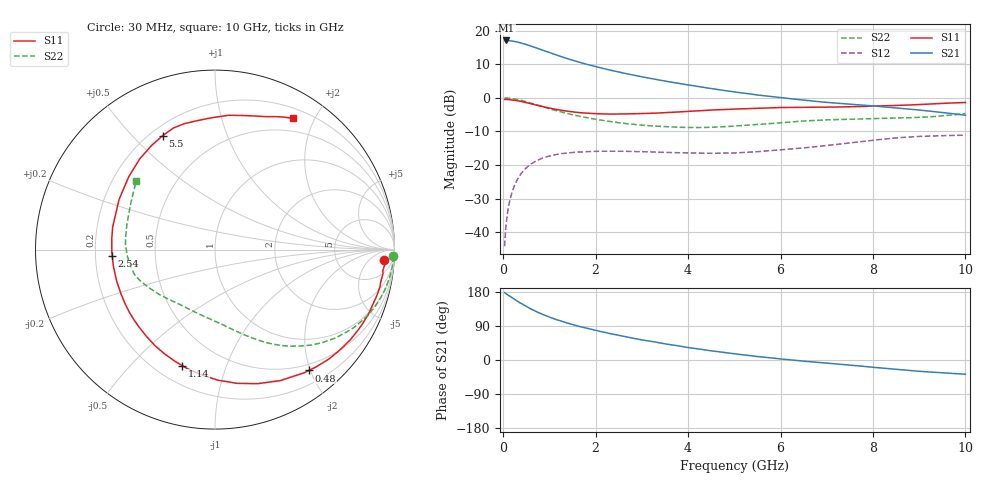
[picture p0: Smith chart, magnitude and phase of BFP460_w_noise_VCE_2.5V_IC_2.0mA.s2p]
! (c) 2016  Infineon Technologies AG, Munich
! Infineon Technologies  Discrete & RF Semiconductors
! BFP460
! VCE =  2.5 V,  IC =  2.0 mA
! Common Emitter S-Parameters:  Jan 2016
# GHz  S  MA  R  50
!  f  S11  S21  S12  S22
! GHz  MAG  ANG  MAG  ANG  MAG  ANG  MAG  ANG
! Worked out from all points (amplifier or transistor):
!   229 points, 30 MHz to 10 GHz, reference 50 ohm
!   highest |S21| = 17.0 dB at 70 MHz (marker M1)
!   |S21| within 3 dB of that: start of sweep to 875.1 MHz
!   unconditionally stable (mu >= 1): 3.877 GHz to 7.937 GHz
!   at 280 MHz: K = 0.09, MSG = 20.8 dB, |S12| = -25.0 dB
!   at 1.78 GHz: K = 0.51, MSG = 13.0 dB, |S12| = -16.0 dB
!   at 10 GHz: K = 0.94, MSG = 3.0 dB, |S12| = -11.1 dB
!   lowest NFmin = 0.68 dB at 450 MHz
!   S11 on the Smith chart (normalised r, x): 30 MHz: 17, -18; 480 MHz: 0.40, -1.98; 1.14 GHz: 0.30, -0.71; 2.54 GHz: 0.27, -0.03; 5.5 GHz: 0.25, +0.61; 10 GHz: 0.32, +1.71
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0.03  0.9455 -3.4  7.102 177.9  0.0062 87.9  0.9952 -2.2
0.07  0.9456 -8.2  7.12 173.7  0.0147 84.7  0.9928 -4.8
0.08  0.9439 -9.3  7.086 173.4  0.0167 84.3  0.9922 -5.5
0.15  0.9345 -17.1  7.024 167.4  0.0312 79.6  0.982 -10.2
0.28  0.91 -31.4  6.799 157.2  0.056 70.9  0.9507 -18.6
0.36  0.8894 -40.0  6.602 151.1  0.0699 66.0  0.925 -23.5
0.48  0.8531 -52.1  6.253 142.6  0.0881 59.1  0.8806 -30.1
0.6  0.8156 -63.5  5.887 134.6  0.1035 53.0  0.8341 -36.1
0.74  0.7704 -75.6  5.439 126.4  0.1174 46.7  0.7784 -42.2
0.94  0.7162 -91.6  4.862 116.1  0.1324 39.2  0.7062 -49.6
1.14  0.6719 -105.7  4.349 107.1  0.1427 33.2  0.6449 -55.8
1.4  0.6305 -122.2  3.798 97.0  0.1513 26.9  0.5794 -62.3
1.7  0.5978 -138.8  3.296 86.9  0.1568 21.5  0.5224 -68.5
2.06  0.5774 -156.1  2.837 76.5  0.1598 16.5  0.4717 -75.1
2.54  0.5735 -176.3  2.379 64.0  0.16 11.7  0.4221 -83.9
3.4  0.5959 155.4  1.822 44.9  0.1548 7.4  0.3753 -100.3
4  0.6291 139.8  1.552 32.9  0.1509 7.0  0.3612 -112.5
5.1  0.6823 120.0  1.196 14.9  0.1522 11.1  0.3829 -135.1
5.5  0.6988 114.6  1.101 9.2  0.1577 13.0  0.4 -141.7
6.8  0.7229 100.4  0.88 -6.1  0.1883 15.5  0.4617 -160.5
8.4  0.7642 77.8  0.716 -23.6  0.2492 9.5  0.4992 176.5
10  0.8507 59.3  0.55 -37.5  0.2776 -2.2  0.5826 138.7
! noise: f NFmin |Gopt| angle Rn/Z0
0.45  0.68  0.58  19  0.26
0.9  0.74  0.54  38  0.26
1.9  1.17  0.35  94  0.17
3.5  1.69  0.37  -166  0.13
